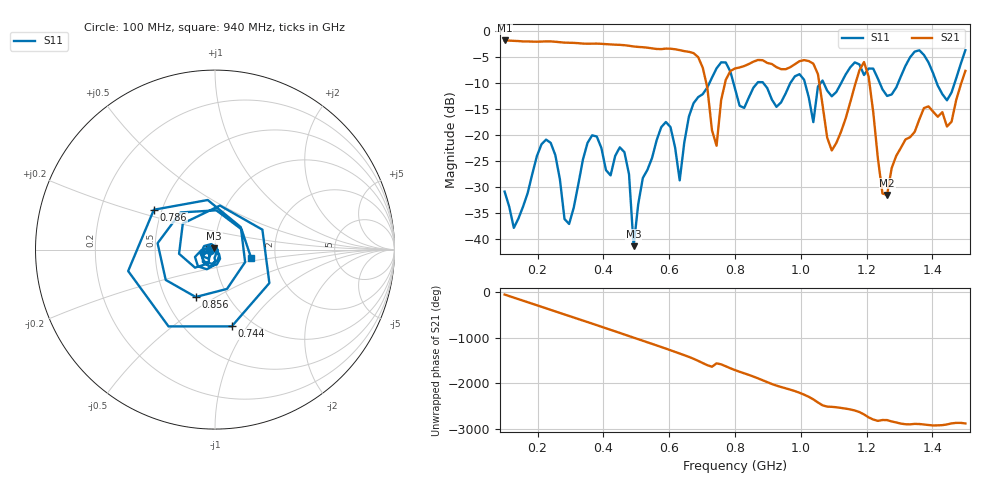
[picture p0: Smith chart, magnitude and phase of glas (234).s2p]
! NanoVNA-App
! Date: 2025-09-25 15:57:17
! Start: 100MHz Stop: 1,5GHz Points: 101
! S-Parameter data: F S11 S21 S12 S22
# Hz S RI R 50
!  Frequency  S11_Real  S11_Imag  S21_Real  S21_Imag  S12_Real  S12_Imag  S22_Real  S22_Imag
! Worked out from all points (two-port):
!   101 points, 100 MHz to 1.5 GHz, reference 50 ohm
!   highest |S21| = -1.80 dB at 100 MHz (marker M1); lowest = -31.6 dB at 1.262 GHz (marker M2)
!   |S21| within 3 dB of the highest: start of sweep to 684.2 MHz
!   lowest |S11| = -41.5 dB at 492 MHz (marker M3), VSWR 1.02, Z = 49.5 + j0.647 ohm
!   |S11| at or under -10 dB: start of sweep to 722.4 MHz; 795.4 MHz to 867.8 MHz (72.41 MHz wide, 8.71 % of centre); 885.9 MHz to 968.3 MHz (82.37 MHz wide, 8.89 % of centre) (the widest 3 of 7)
!   S12 and S22 are empty: the file has one direction only
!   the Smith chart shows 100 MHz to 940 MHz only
!   S11 on the Smith chart (normalised r, x): 100 MHz: 0.95, -0.01; 744 MHz: 0.80, -0.85; 786 MHz: 0.45, +0.24; 856 MHz: 0.71, -0.41; 940 MHz: 1.49, -0.14
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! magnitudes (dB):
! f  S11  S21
! 100 MHz  -30.9  -1.8
! 128 MHz  -37.9  -1.9
! 226 MHz  -20.9  -2.0
! 296 MHz  -37.2  -2.2
! 338 MHz  -24.8  -2.4
! 464 MHz  -23.3  -2.7
! 492 MHz  -41.5  -3.0
! 576 MHz  -18.5  -3.5
! 632 MHz  -28.8  -3.7
! 702 MHz  -12.2  -7.0
! 744 MHz  -7.2  -22.1
! 786 MHz  -7.8  -7.7
! 800 MHz  -11.1  -7.2
! 856 MHz  -10.9  -5.9
! 940 MHz  -13.7  -7.3
! 996 MHz  -8.3  -5.8
! 1.038 GHz  -17.5  -6.3
! 1.094 GHz  -12.6  -23.0
! 1.192 GHz  -8.5  -6.0
! 1.262 GHz  -12.5  -31.6
! 1.276 GHz  -12.2  -26.4
! 1.5 GHz  -3.7  -7.7
